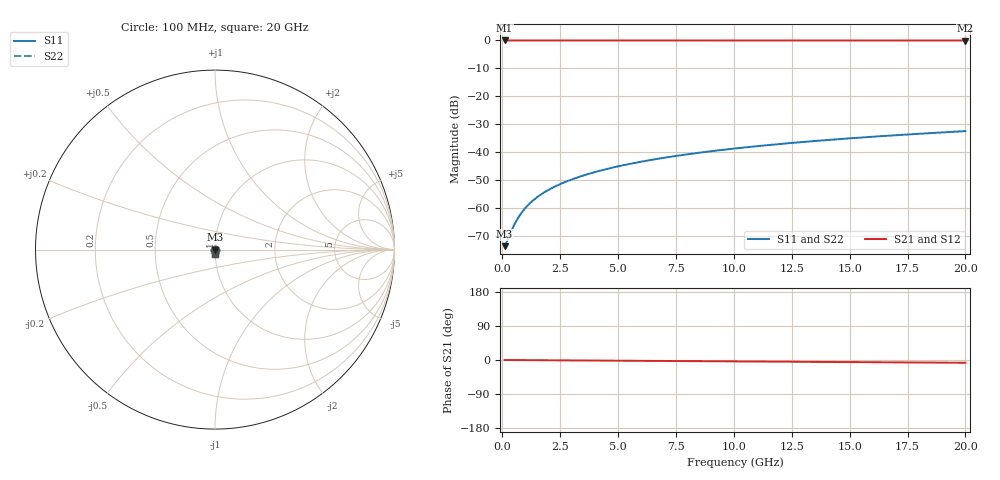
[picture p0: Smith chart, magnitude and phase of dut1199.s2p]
! Touchstone file exported from HFSS 2026.1.0
!  File:  C:/ffzhzh/LocalFiles/Ansys_Project_Files/temp_train_TSV_1199_1783192570_51560.aedt
!  Generated:  03:17:33 AM Jul  5, 2026
!  Design:  TSV
!  Project:  temp_train_TSV_1199_1783192570_51560
! Variables:
!  h_bsmrdl = 2um
!  h_ox = 20um
!  h_rdl = 5um
!  h_sub = 76.44um
!  h_tmrdl = 5um
!  h_tsv = 76.44um
!  h_via = 3um
!  l_bsmrdl = 300um
!  l_sub = 415.08um
!  l_tmrdl = 200um
!  m_sub = 200um
!  pitch = 25.52um
!  r_tsv = 7.54um
!  s_tmrdl = 10um
!  w_bsmrdl = 18um
!  w_sub = 500um
!  w_tmrdl = 12um
!  x_tsv_center1 = 206um
!  x_tsv_center2 = 524um
!  x_tsv_center3 = 736um
!  x_tsv_center4 = 1054um
!  x_tsv_center5 = 1266um
!  x_tsv_center6 = 1584um
# GHz S MA R 50.000000
! Terminal data exported
! Port[1] = TSV1_1_T1
! Port[2] = TSV1_1_T2
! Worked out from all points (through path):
!   200 points, 100 MHz to 20 GHz, reference 50 ohm
!   highest |S21| = 0.00 dB at 100 MHz (marker M1); lowest = 0.0 dB at 20 GHz (marker M2)
!   group delay of S21, straight-line fit = 1.02 ps
!   lowest |S11| = -73.6 dB at 100 MHz (marker M3), VSWR 1.00, Z = 50 - j0.0066 ohm
!   |S11| at or under -10 dB: start of sweep to end of sweep
!   |S22| runs from -73.6 to -32.4 dB; largest |S21 - S12| = 5e-15
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0.1  0.0002101 -18.3  0.9998 -0.0  0.9998 -0.0  0.0002101 -18.3
! Gamma 0 0 0 0
! Port Impedance 50 0 50 0
0.2  0.000255 -32.3  0.9998 -0.1  0.9998 -0.1  0.000255 -32.3
0.4  0.0004009 -48.3  0.9997 -0.2  0.9997 -0.2  0.0004009 -48.3
0.5  0.0004914 -53.1  0.9997 -0.2  0.9997 -0.2  0.0004914 -53.1
0.7  0.0006915 -59.8  0.9996 -0.3  0.9996 -0.3  0.0006915 -59.8
0.8  0.0007973 -62.3  0.9996 -0.3  0.9996 -0.3  0.0007972 -62.3
1  0.001015 -66.2  0.9996 -0.4  0.9996 -0.4  0.001015 -66.2
1.3  0.001348 -70.4  0.9995 -0.5  0.9995 -0.5  0.001348 -70.4
1.7  0.001797 -74.1  0.9995 -0.6  0.9995 -0.6  0.001797 -74.1
2.2  0.002361 -77.0  0.9994 -0.8  0.9994 -0.8  0.002361 -77.0
2.8  0.003045 -79.2  0.9994 -1.0  0.9994 -1.0  0.003045 -79.2
3.5  0.003853 -81.0  0.9993 -1.3  0.9993 -1.3  0.003853 -81.0
4.2  0.00467 -82.2  0.9992 -1.6  0.9992 -1.6  0.00467 -82.2
5  0.005616 -83.3  0.9992 -1.9  0.9992 -1.9  0.005616 -83.3
5.9  0.006691 -84.4  0.9991 -2.2  0.9991 -2.2  0.006691 -84.4
6.8  0.007774 -85.3  0.999 -2.5  0.999 -2.5  0.007774 -85.3
8.3  0.009592 -86.6  0.9989 -3.1  0.9989 -3.1  0.009592 -86.6
10.1  0.01178 -87.9  0.9987 -3.7  0.9987 -3.7  0.01178 -87.9
11.7  0.01374 -89.0  0.9986 -4.3  0.9986 -4.3  0.01374 -89.0
13.4  0.01582 -90.0  0.9985 -4.9  0.9985 -4.9  0.01582 -90.0
16.7  0.01987 -91.7  0.9983 -6.1  0.9983 -6.1  0.01987 -91.7
20  0.02394 -93.3  0.998 -7.3  0.998 -7.3  0.02394 -93.3
